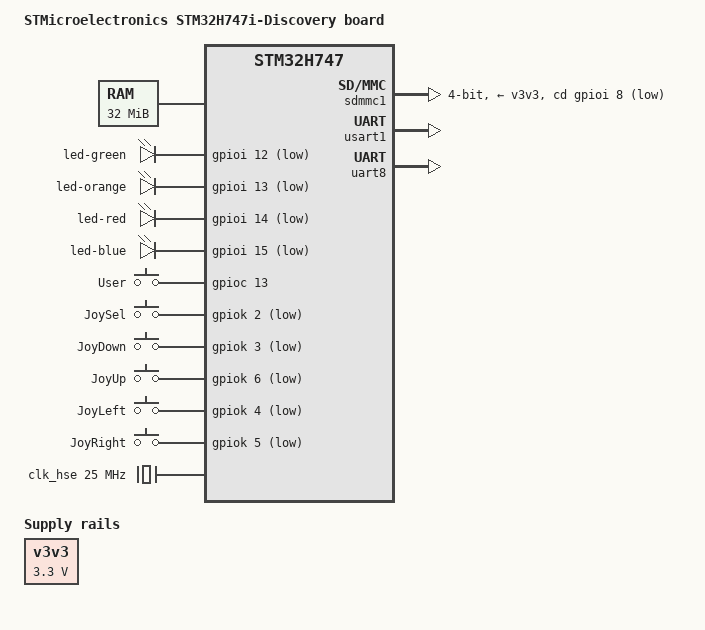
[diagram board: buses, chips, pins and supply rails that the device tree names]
// SPDX-License-Identifier: GPL-2.0
/*
 * Copyright (C) 2025 Amarula Solutions, Dario Binacchi <dario.binacchi@amarulasolutions.com>
 */

/dts-v1/;
#include "stm32h743.dtsi"
#include "stm32h7-pinctrl.dtsi"
#include <dt-bindings/gpio/gpio.h>
#include <dt-bindings/input/input.h>

/ {
	model = "STMicroelectronics STM32H747i-Discovery board";
	compatible = "st,stm32h747i-disco", "st,stm32h747";

	chosen {
		bootargs = "root=/dev/ram";
		stdout-path = "serial0:115200n8";
	};

	memory@d0000000 {
		device_type = "memory";
		reg = <0xd0000000 0x2000000>;
	};

	aliases {
		serial0 = &usart1;
		serial1 = &uart8;
	};

	v3v3: regulator-v3v3 {
		compatible = "regulator-fixed";
		regulator-name = "v3v3";
		regulator-min-microvolt = <3300000>;
		regulator-max-microvolt = <3300000>;
		regulator-always-on;
	};

	leds {
		compatible = "gpio-leds";
		led-green {
			gpios = <&gpioi 12 GPIO_ACTIVE_LOW>;
			linux,default-trigger = "heartbeat";
		};
		led-orange {
			gpios = <&gpioi 13 GPIO_ACTIVE_LOW>;
		};
		led-red {
			gpios = <&gpioi 14 GPIO_ACTIVE_LOW>;
		};
		led-blue {
			gpios = <&gpioi 15 GPIO_ACTIVE_LOW>;
		};
	};

	gpio-keys {
		compatible = "gpio-keys";
		autorepeat;
		button-0 {
			label = "User";
			linux,code = <KEY_WAKEUP>;
			gpios = <&gpioc 13 GPIO_ACTIVE_HIGH>;
		};
		button-1 {
			label = "JoySel";
			linux,code = <KEY_ENTER>;
			gpios = <&gpiok 2 (GPIO_ACTIVE_LOW | GPIO_PULL_UP)>;
		};
		button-2 {
			label = "JoyDown";
			linux,code = <KEY_DOWN>;
			gpios = <&gpiok 3 (GPIO_ACTIVE_LOW | GPIO_PULL_UP)>;
		};
		button-3 {
			label = "JoyUp";
			linux,code = <KEY_UP>;
			gpios = <&gpiok 6 (GPIO_ACTIVE_LOW | GPIO_PULL_UP)>;
		};
		button-4 {
			label = "JoyLeft";
			linux,code = <KEY_LEFT>;
			gpios = <&gpiok 4 (GPIO_ACTIVE_LOW | GPIO_PULL_UP)>;
		};
		button-5 {
			label = "JoyRight";
			linux,code = <KEY_RIGHT>;
			gpios = <&gpiok 5 (GPIO_ACTIVE_LOW | GPIO_PULL_UP)>;
		};
	};
};

&clk_hse {
	clock-frequency = <25000000>;
};

&mac {
	status = "disabled";
	pinctrl-0 = <&ethernet_rmii>;
	pinctrl-names = "default";
	phy-mode = "rmii";
	phy-handle = <&phy0>;

	mdio0 {
		#address-cells = <1>;
		#size-cells = <0>;
		compatible = "snps,dwmac-mdio";
		phy0: ethernet-phy@0 {
			reg = <0>;
		};
	};
};

&sdmmc1 {
	pinctrl-names = "default", "opendrain", "sleep";
	pinctrl-0 = <&sdmmc1_b4_pins_a>;
	pinctrl-1 = <&sdmmc1_b4_od_pins_a>;
	pinctrl-2 = <&sdmmc1_b4_sleep_pins_a>;
	cd-gpios = <&gpioi 8 GPIO_ACTIVE_LOW>;
	broken-cd;
	st,neg-edge;
	bus-width = <4>;
	vmmc-supply = <&v3v3>;
	status = "okay";
};

&usart1 {
	pinctrl-0 = <&usart1_pins_b>;
	pinctrl-names = "default";
	status = "okay";
};

&uart8 {
	pinctrl-0 = <&uart8_pins_a>;
	pinctrl-names = "default";
	status = "okay";
};
